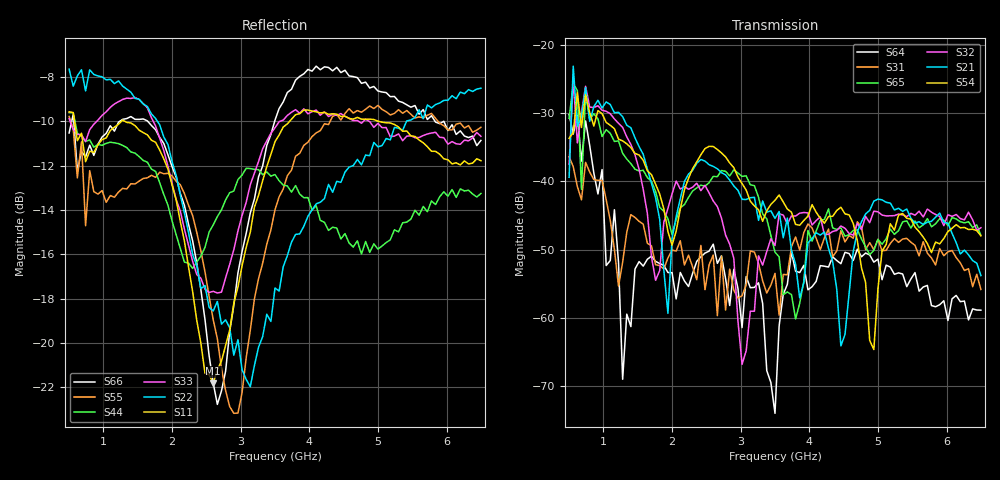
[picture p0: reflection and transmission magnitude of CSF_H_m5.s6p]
!Keysight Technologies,M9804A,MY58100912,A.14.10.03
!Date: Thursday, April 27, 2023 10:28:33
!Correction: S11(C  6-Port  )
!S12(C  6-Port  )
!S13(C  6-Port  )
!S14(C  6-Port  )
!S15(C  6-Port  )
!S16(C  6-Port  )
!S21(C  6-Port  )
!S22(C  6-Port  )
!S23(C  6-Port  )
!S24(C  6-Port  )
!S25(C  6-Port  )
!S26(C  6-Port  )
!S31(C  6-Port  )
!S32(C  6-Port  )
!S33(C  6-Port  )
!S34(C  6-Port  )
!S35(C  6-Port  )
!S36(C  6-Port  )
!S41(C  6-Port  )
!S42(C  6-Port  )
!S43(C  6-Port  )
!S44(C  6-Port  )
!S45(C  6-Port  )
!S46(C  6-Port  )
!S51(C  6-Port  )
!S52(C  6-Port  )
!S53(C  6-Port  )
!S54(C  6-Port  )
!S55(C  6-Port  )
!S56(C  6-Port  )
!S61(C  6-Port  )
!S62(C  6-Port  )
!S63(C  6-Port  )
!S64(C  6-Port  )
!S65(C  6-Port  )
!S66(C  6-Port  )
!S6P File: Measurement: :
# Hz S  RI  R 50
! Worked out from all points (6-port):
!   101 points, 500 MHz to 6.5 GHz, reference 50 ohm
!   strongest paths, dB at 500 MHz, 2 GHz, 3.5 GHz, 5 GHz, 6.5 GHz:
!     S54: -33.7, -49.3, -42.7, -55.7, -48.0
!     S21: -39.4, -48.3, -45.4, -42.6, -53.8
!     S32: -37.5, -41.8, -49.4, -44.4, -46.8
!     S65: -30.8, -47.8, -50.4, -48.5, -47.9
!     S31: -36.4, -50.0, -53.5, -48.5, -55.8
!     S64: -30.2, -53.4, -73.9, -51.4, -58.8
!   lowest |S11| = -21.8 dB at 2.6 GHz (marker M1), VSWR 1.18, Z = 42.7 + j1.97 ohm
!   |S11| at or under -10 dB: 579 MHz to 1.26 GHz (681.5 MHz wide, 74.1 % of centre); 1.315 GHz to 3.711 GHz (2.396 GHz wide, 95.3 % of centre); 5.014 GHz to end of sweep
